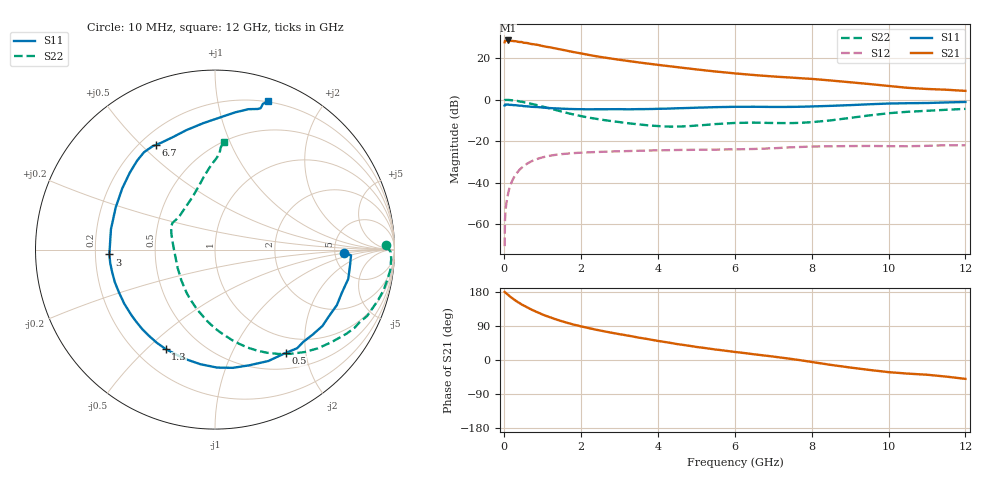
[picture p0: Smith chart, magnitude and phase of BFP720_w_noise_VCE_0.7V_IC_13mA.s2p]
! Infineon Technologies  Discrete & RF Semiconductors
! BFP720
! VCE =  0.7 V,  IC =  13 mA
! Common Emitter S-Parameters:  Aug 2012
# GHz  S  MA  R  50
!  f  S11  S21  S12  S22
! GHz  MAG  ANG  MAG  ANG  MAG  ANG  MAG  ANG
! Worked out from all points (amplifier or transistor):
!   105 points, 10 MHz to 12 GHz, reference 50 ohm
!   highest |S21| = 28.4 dB at 100 MHz (marker M1)
!   |S21| within 3 dB of that: start of sweep to 1.087 GHz
!   unconditionally stable (mu >= 1): start of sweep to 12.9 MHz; 4.916 GHz to 11.86 GHz
!   at 300 MHz: K = 0.09, MSG = 32.0 dB, |S12| = -35.9 dB
!   at 3.6 GHz: K = 0.80, MSG = 21.1 dB, |S12| = -24.6 dB
!   at 12 GHz: K = 0.97, MSG = 13.1 dB, |S12| = -21.9 dB
!   lowest NFmin = 0.59 dB at 450 MHz
!   S11 on the Smith chart (normalised r, x): 10 MHz: 6.15, -0.42; 500 MHz: 0.73, -1.65; 1.3 GHz: 0.32, -0.57; 3 GHz: 0.26, -0.02; 6.7 GHz: 0.26, +0.55; 12 GHz: 0.20, +1.40
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0.01  0.7216 -1.3  23.86 179.7  0.0003 -139.5  0.9531 1.5
0.02  0.7585 -2.4  25.84 178.8  0.0013 90.0  0.9801 -0.9
0.1  0.7602 -12.4  26.4 171.9  0.0054 82.4  0.9829 -6.8
0.3  0.7345 -35.4  25.36 156.4  0.016 73.6  0.9369 -20.3
0.35  0.7213 -41.1  24.56 153.0  0.0182 71.7  0.9254 -23.5
0.45  0.7152 -50.2  24.28 146.8  0.0228 66.8  0.8907 -29.4
0.5  0.6974 -55.7  23.33 144.2  0.0251 64.7  0.8697 -32.6
0.6  0.6882 -64.4  22.88 138.8  0.029 60.4  0.8301 -38.3
0.8  0.6662 -81.4  21.19 128.8  0.0357 52.8  0.7577 -48.9
1  0.6438 -97.2  19.38 119.9  0.041 46.1  0.6805 -58.7
1.3  0.6183 -116.4  17.22 108.8  0.0465 38.0  0.5752 -71.6
1.7  0.595 -137.5  14.5 96.4  0.0509 29.9  0.4614 -86.4
2.1  0.5861 -152.7  12.35 86.5  0.0534 24.4  0.3848 -98.8
2.4  0.5869 -162.2  10.99 79.7  0.055 21.3  0.3446 -107.5
3  0.5893 -177.4  9.051 68.1  0.0572 16.4  0.288 -123.4
4.1  0.6029 155.0  6.672 48.8  0.0606 9.8  0.2283 -157.8
5  0.6398 137.8  5.317 34.4  0.0622 5.4  0.2376 171.5
6.1  0.6715 125.0  4.191 20.1  0.0639 2.2  0.2757 151.9
6.7  0.6697 119.4  3.771 12.7  0.0661 1.2  0.2772 146.0
8.5  0.7079 95.2  2.877 -12.9  0.0755 -8.4  0.317 113.6
10.5  0.8188 73.1  1.919 -35.9  0.0757 -18.3  0.51 89.0
12  0.8765 70.3  1.621 -49.8  0.0799 -25.4  0.5988 85.4
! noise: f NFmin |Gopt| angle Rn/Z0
0.45  0.59  0.25  1  0.17
1.8  0.65  0.23  16  0.13
2.4  0.7  0.21  29  0.37
5.5  0.86  0.09  -13  0.17
10  1.05  0.42  -76  0.26
